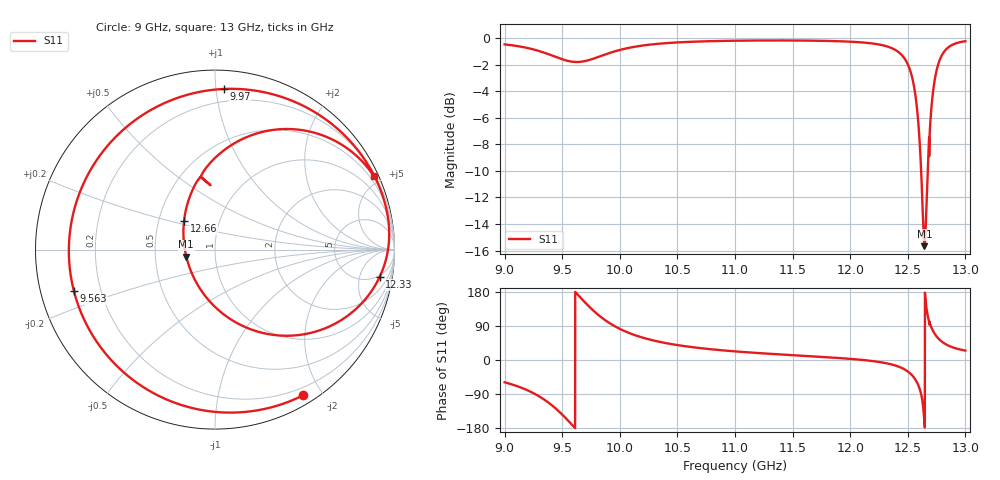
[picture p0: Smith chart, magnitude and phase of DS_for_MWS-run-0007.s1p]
! TOUCHSTONE file generated by CST DESIGN STUDIO
! Date and time: Wed Feb  5 13:32:17 2025
! Project name: C:\Work\MatlabApps\UnitCellOptimizationMatlab\CST\unitcell.cst
! Tree item: Tasks\Sweep1\SPara1\S-Parameters
! Header version: 2024
! Port assignment regex: !\s*Touchstone port\s*([0-9]+)\s*=\s*(CST MWS port|CST DES external port|CST DES block port)\s*(.+)\s* \(\"(.*)\"\)(\s*mode\s*([0-9]+))?.*
! Touchstone port assignment:
! Touchstone port 1 = CST DES external port 1 ("")
# GHz S MA R 50
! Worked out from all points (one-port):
!   4001 points, 9 GHz to 13 GHz, reference 50 ohm
!   lowest |S11| = -15.7 dB at 12.64 GHz (marker M1), VSWR 1.39, Z = 36.1 - j2.89 ohm
!   |S11| at or under -10 dB: 12.61596 GHz to 12.67286 GHz (56.9 MHz wide, 0.45 % of centre)
!   S11 on the Smith chart (normalised r, x): 9 GHz: 0.11, -1.77; 9.563 GHz: 0.10, -0.14; 9.97 GHz: 0.12, +1.05; 12.33 GHz: 5, -10; 12.66 GHz: 0.67, +0.23; 13 GHz: 0.27, +4.53
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9  0.9486 -58.8
9.157  0.9272 -74.5
9.308  0.893 -97.4
9.408  0.8623 -118.9
9.5  0.8335 -143.9
9.563  0.8193 -163.7
9.661  0.8156 163.8
9.775  0.8391 129.1
9.865  0.8666 106.8
9.97  0.8964 86.9
10  0.9037 82.1
10.218  0.9417 57.3
10.5  0.9649 39.4
11  0.9792 22.7
11.5  0.9811 12.7
12  0.9711 3.0
12.326  0.9303 -9.4
12.429  0.8805 -18.5
12.5  0.7976 -30.2
12.544  0.6927 -42.6
12.586  0.5116 -62.9
12.615  0.3231 -89.2
12.645  0.1646 -166.3
12.662  0.2345 137.4
12.708  0.566 83.7
12.748  0.7508 63.0
12.845  0.9193 39.1
13  0.9752 24.8
